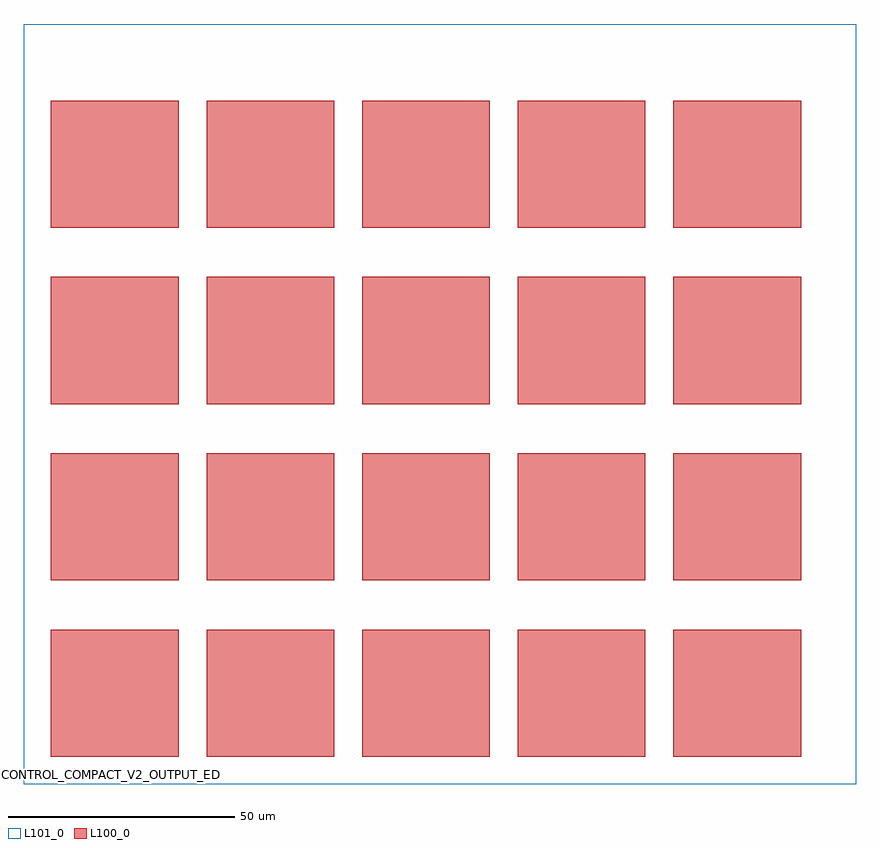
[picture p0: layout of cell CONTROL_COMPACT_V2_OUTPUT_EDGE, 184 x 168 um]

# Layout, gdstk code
import gdstk
lib = gdstk.Library(unit=1e-6, precision=1e-09)
def R(c, l, rs):  # rectangles x0, y0, x1, y1
    for r in rs: c.add(gdstk.rectangle(r[:2], r[2:], *l))
def A(c, l, x, y, w, h, nx, ny, dx, dy):  # array of equal rectangles
    R(c, l, [(x+i*dx, y+j*dy, x+i*dx+w, y+j*dy+h) for i in range(nx) for j in range(ny)])
L100_0 = (100, 0)
L101_0 = (101, 0)

control_compact_v2_outpu = lib.new_cell('CONTROL_COMPACT_V2_OUTPUT_EDGE')
A(control_compact_v2_outpu, L100_0, 6, 6, 28.208, 28.08, 5, 4, 34.4, 39)
R(control_compact_v2_outpu, L101_0, [(0,0,184,168)])
control_compact_v2_outpu.add(gdstk.Label('CONTROL_COMPACT_V2_OUTPUT_EDGE', (2,2), layer=11, texttype=2))

lib.write_gds('CONTROL_COMPACT_V2_OUTPUT_EDGE.gds')
